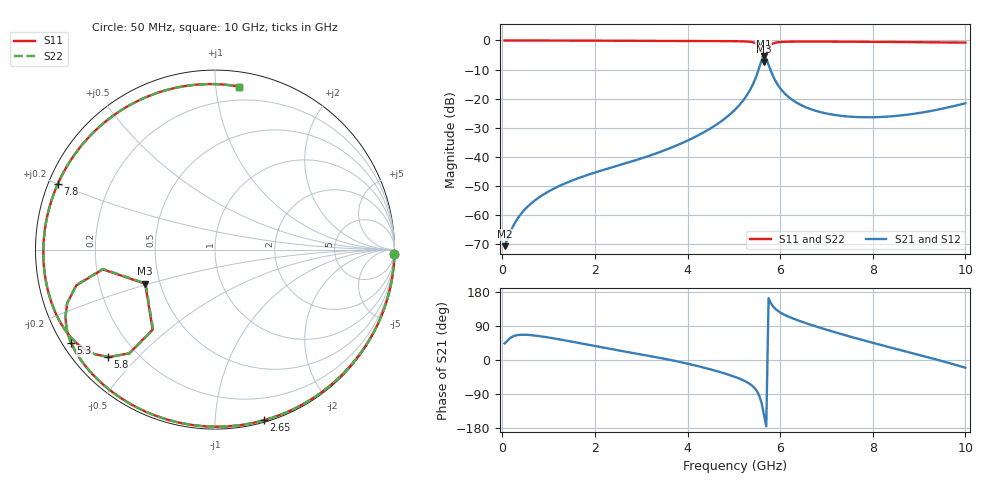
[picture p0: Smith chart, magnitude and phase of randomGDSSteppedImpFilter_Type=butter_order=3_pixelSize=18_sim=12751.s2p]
! freq	dB(S11)	phase(S11)	dB(S12)	phase(S12)
!  dB(S21)	phase(S21)	dB(S22)	phase(S22)
!S-par simulation data
#  GHz  S  DB  R 50
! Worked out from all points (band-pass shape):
!   200 points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, 50 MHz to 10 GHz, reference 50 ohm
!   highest |S21| = -5.41 dB at 5.65 GHz (marker M1); lowest = -70.7 dB at 50 MHz (marker M2)
!   |S21| within 3 dB of the highest: 5.569 GHz to 5.751 GHz (182.5 MHz wide, 3.22 % of centre)
!   lowest |S11| = -7.3 dB at 5.65 GHz (marker M3), VSWR 2.53, Z = 20.7 - j9.69 ohm
!   |S11| at or under -10 dB: nowhere
!   |S22| runs from -7.3 to 0.0 dB; largest |S21 - S12| = 0
!   S11 on the Smith chart (normalised r, x): 50 MHz: 0, -79; 2.65 GHz: 0.02, -1.33; 5.3 GHz: 0.02, -0.30; 5.8 GHz: 0.10, -0.41; 7.8 GHz: 0.03, +0.20; 10 GHz: 0.10, +1.15
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0.05  -0.00 -1.4  -70.69 43.8  -70.69 43.8  -0.00 -1.4
0.3  -0.00 -8.7  -61.96 65.0  -61.96 65.0  -0.00 -8.7
0.6  -0.01 -17.3  -56.33 65.8  -56.33 65.8  -0.01 -17.3
1.75  -0.06 -49.7  -46.71 42.7  -46.71 42.7  -0.06 -49.7
2.65  -0.09 -74.0  -42.27 22.2  -42.27 22.2  -0.09 -74.0
3.4  -0.12 -93.6  -38.36 5.6  -38.36 5.6  -0.12 -93.6
4.4  -0.17 -119.4  -31.12 -21.6  -31.12 -21.6  -0.17 -119.4
5.05  -0.26 -137.7  -23.39 -45.8  -23.39 -45.8  -0.26 -137.8
5.3  -0.40 -147.0  -18.35 -59.7  -18.35 -59.7  -0.40 -147.1
5.55  -1.95 -165.5  -9.32 -94.6  -9.32 -94.6  -1.96 -165.6
5.6  -3.94 -170.0  -6.87 -114.3  -6.87 -114.3  -3.96 -170.2
5.65  -7.27 -153.9  -5.41 -144.1  -5.41 -144.1  -7.33 -154.0
5.7  -4.95 -127.9  -6.23 -175.3  -6.23 -175.3  -4.98 -127.7
5.75  -2.50 -129.6  -8.36 163.1  -8.36 163.1  -2.51 -129.4
5.8  -1.47 -134.8  -10.53 149.8  -10.53 149.8  -1.48 -134.8
5.95  -0.63 -145.7  -15.26 129.7  -15.26 129.7  -0.63 -145.6
6.15  -0.43 -154.2  -18.99 116.0  -18.99 116.0  -0.43 -154.2
6.7  -0.37 -171.3  -23.83 91.4  -23.83 91.4  -0.37 -171.3
7.8  -0.45 157.2  -26.39 51.9  -26.39 51.9  -0.45 157.2
8.35  -0.51 140.4  -26.14 34.1  -26.14 34.1  -0.51 140.3
9.25  -0.63 110.1  -24.25 5.4  -24.25 5.4  -0.63 110.0
10  -0.74 81.7  -21.59 -20.5  -21.59 -20.5  -0.74 81.6
